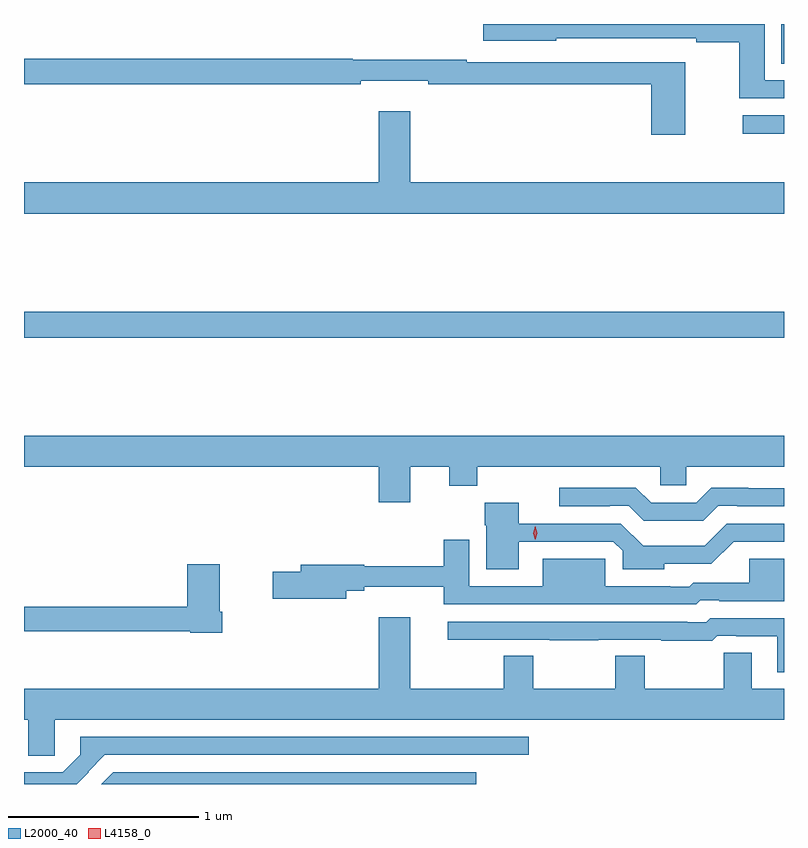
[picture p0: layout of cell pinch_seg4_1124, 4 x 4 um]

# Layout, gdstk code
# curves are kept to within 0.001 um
import gdstk
lib = gdstk.Library(unit=1e-6, precision=1e-09)
def R(c, l, rs):  # rectangles x0, y0, x1, y1
    for r in rs: c.add(gdstk.rectangle(r[:2], r[2:], *l))
def P(c, l, *ps):  # polygons
    for p in ps: c.add(gdstk.Polygon(p, *l))
L2000_40 = (2000, 40)
L4158_0 = (4158, 0)

pinch_seg4_1124 = lib.new_cell('pinch_seg4_1124')
R(pinch_seg4_1124, L2000_40, [(450.852,766.864,454.852,767), (454.635,767.937,454.852,768.033), (454.838,768.304,454.852,768.514)])
P(pinch_seg4_1124, L2000_40, [(454.852,768.219),(454.75,768.219),(454.75,768.514),(453.27,768.514),(453.27,768.425),(453.654,768.425),(453.654,768.438),(454.39,768.438),(454.39,768.418),(454.616,768.418),(454.616,768.123),(454.852,768.123)],
  [(454.332,768.312),(453.182,768.312),(453.182,768.325),(452.582,768.325),(452.582,768.332),(450.852,768.332),(450.852,768.196),(452.624,768.196),(452.624,768.215),(452.98,768.215),(452.98,768.196),(454.154,768.196),(454.154,767.931),(454.332,767.931)],
  [(454.852,767.68),(452.884,767.68),(452.884,768.055),(452.72,768.055),(452.72,767.68),(450.852,767.68),(450.852,767.516),(454.852,767.516)],
  [(452.884,766.184),(453.089,766.184),(453.089,766.085),(453.237,766.085),(453.237,766.184),(454.2,766.184),(454.2,766.086),(454.338,766.086),(454.338,766.184),(454.852,766.184),(454.852,766.348),(450.852,766.348),(450.852,766.184),(452.72,766.184),(452.72,765.996),(452.884,765.996)],
  [(454.506,765.978),(454.606,765.978),(454.606,765.975),(454.852,765.975),(454.852,766.071),(454.468,766.072),(454.389,765.993),(454.152,765.993),(454.073,766.072),(453.669,766.072),(453.669,765.975),(453.935,765.975),(453.935,765.978),(454.035,765.978),(454.113,765.9),(454.428,765.9)],
  [(453.457,765.789),(453.954,765.789),(454.002,765.741),(454.002,765.644),(454.221,765.644),(454.221,765.672),(454.47,765.672),(454.587,765.789),(454.852,765.789),(454.852,765.885),(454.551,765.885),(454.435,765.769),(454.11,765.769),(453.994,765.885),(453.457,765.885),(453.457,765.994),(453.278,765.994),(453.278,765.876),(453.284,765.876),(453.284,765.644),(453.457,765.644)],
  [(454.41,765.48),(454.51,765.48),(454.51,765.477),(454.852,765.476),(454.852,765.7),(454.67,765.7),(454.67,765.573),(454.374,765.573),(454.354,765.553),(454.253,765.553),(454.253,765.555),(453.912,765.555),(453.912,765.7),(453.581,765.7),(453.581,765.555),(453.196,765.555),(453.196,765.799),(453.062,765.799),(453.062,765.661),(452.644,765.661),(452.644,765.668),(452.309,765.668),(452.309,765.632),(452.16,765.632),(452.16,765.49),(452.548,765.49),(452.548,765.532),(452.644,765.532),(452.644,765.551),(453.062,765.551),(453.062,765.459),(454.389,765.459)],
  [(451.895,765.421),(451.882,765.421),(451.882,765.67),(451.712,765.67),(451.712,765.446),(450.852,765.446),(450.852,765.318),(451.728,765.318),(451.728,765.31),(451.895,765.31)],
  [(451.014,764.852),(454.852,764.852),(454.852,765.016),(454.681,765.016),(454.681,765.206),(454.534,765.206),(454.534,765.016),(454.119,765.016),(454.119,765.188),(453.964,765.188),(453.964,765.016),(453.531,765.016),(453.531,765.188),(453.376,765.188),(453.376,765.016),(452.884,765.016),(452.884,765.391),(452.72,765.391),(452.72,765.016),(450.852,765.016),(450.852,764.852),(450.875,764.852),(450.875,764.662),(451.014,764.662)],
  [(454.852,765.387),(454.464,765.387),(454.443,765.366),(454.343,765.366),(454.343,765.369),(453.081,765.369),(453.081,765.273),(453.619,765.273),(453.619,765.271),(453.875,765.271),(453.875,765.273),(454.207,765.273),(454.207,765.268),(454.474,765.268),(454.5,765.294),(454.6,765.294),(454.6,765.291),(454.817,765.291),(454.817,765.102),(454.852,765.102)],
  [(451.193,764.576),(451.19,764.579),(451.278,764.667),(453.508,764.667),(453.508,764.763),(451.147,764.763),(451.147,764.668),(451.056,764.577),(450.852,764.577),(450.852,764.514),(451.13,764.514)],
  [(453.232,764.577),(451.322,764.577),(451.259,764.514),(453.232,764.514)])
P(pinch_seg4_1124, L4158_0, [(453.542,765.8),(453.542,765.8),(453.532,765.835),(453.542,765.87),(453.542,765.871),(453.542,765.87),(453.552,765.835),(453.542,765.8)])

lib.write_gds('pinch_seg4_1124.gds')
